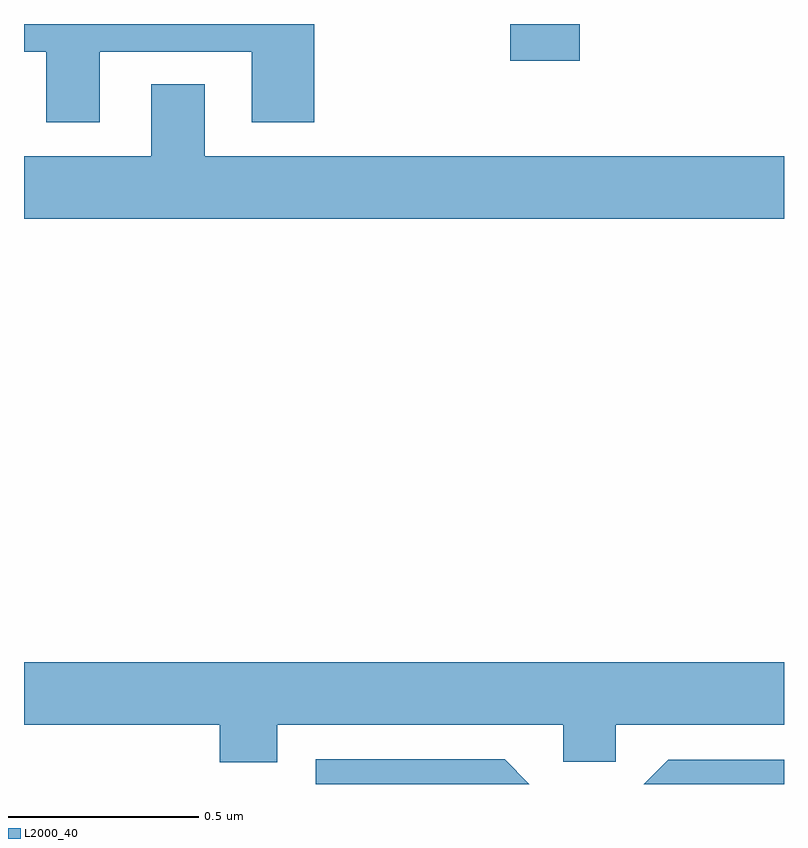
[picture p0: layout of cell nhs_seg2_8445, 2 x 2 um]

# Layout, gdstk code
import gdstk
lib = gdstk.Library(unit=1e-6, precision=1e-09)
def R(c, l, rs):  # rectangles x0, y0, x1, y1
    for r in rs: c.add(gdstk.rectangle(r[:2], r[2:], *l))
def P(c, l, *ps):  # polygons
    for p in ps: c.add(gdstk.Polygon(p, *l))
L2000_40 = (2000, 40)

nhs_seg2_8445 = lib.new_cell('nhs_seg2_8445')
R(nhs_seg2_8445, L2000_40, [(217.28,662.703,217.463,662.8)])
P(nhs_seg2_8445, L2000_40, [(216.199,662.727),(216.599,662.727),(216.599,662.541),(216.764,662.541),(216.764,662.8),(216,662.8),(216,662.727),(216.059,662.727),(216.059,662.541),(216.199,662.541)],
  [(218,662.452),(216.475,662.452),(216.475,662.642),(216.335,662.642),(216.335,662.452),(216,662.452),(216,662.288),(218,662.288)],
  [(216.667,660.956),(217.419,660.956),(217.419,660.858),(217.557,660.858),(217.557,660.956),(218,660.956),(218,661.12),(216,661.12),(216,660.956),(216.515,660.956),(216.515,660.857),(216.667,660.857)],
  [(217.265,660.865),(216.768,660.865),(216.768,660.8),(217.33,660.8)],
  [(218,660.864),(217.695,660.864),(217.631,660.8),(218,660.8)])

lib.write_gds('nhs_seg2_8445.gds')
